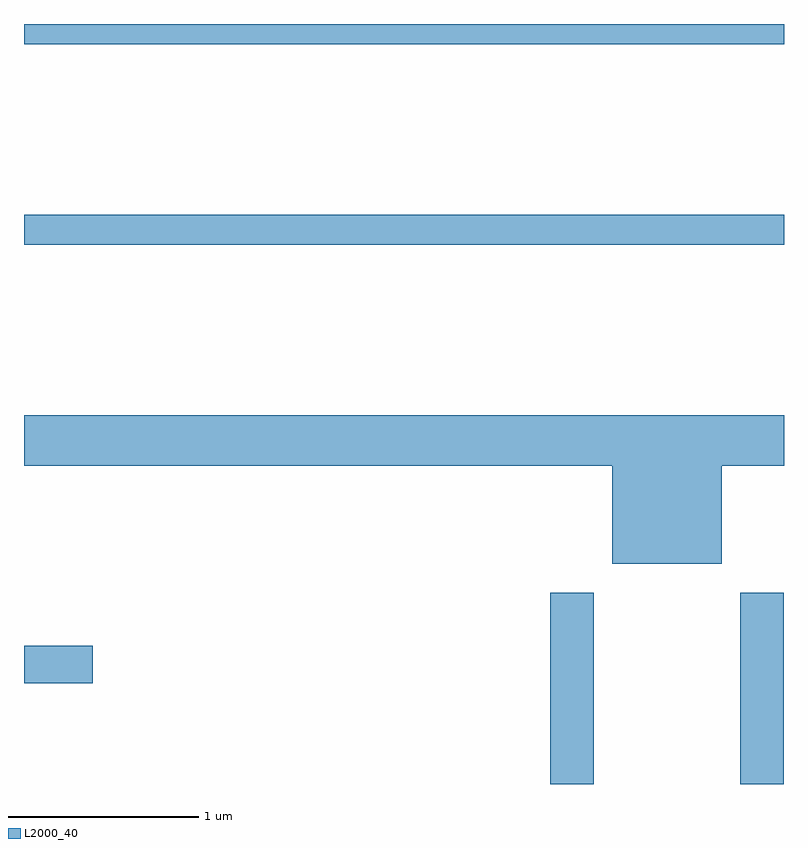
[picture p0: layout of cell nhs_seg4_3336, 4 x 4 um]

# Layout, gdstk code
import gdstk
lib = gdstk.Library(unit=1e-6, precision=1e-09)
def R(c, l, rs):  # rectangles x0, y0, x1, y1
    for r in rs: c.add(gdstk.rectangle(r[:2], r[2:], *l))
def P(c, l, *ps):  # polygons
    for p in ps: c.add(gdstk.Polygon(p, *l))
L2000_40 = (2000, 40)

nhs_seg4_3336 = lib.new_cell('nhs_seg4_3336')
R(nhs_seg4_3336, L2000_40, [(286.381,1261.982,286.609,1262.989), (287.381,1261.982,287.609,1262.989), (283.611,1262.511,283.974,1262.709), (283.611,1264.821,287.611,1264.979), (283.611,1265.876,287.611,1265.982)])
P(nhs_seg4_3336, L2000_40, [(287.284,1263.656),(287.611,1263.656),(287.611,1263.924),(283.611,1263.924),(283.611,1263.656),(286.706,1263.656),(286.706,1263.141),(287.284,1263.141)])

lib.write_gds('nhs_seg4_3336.gds')
